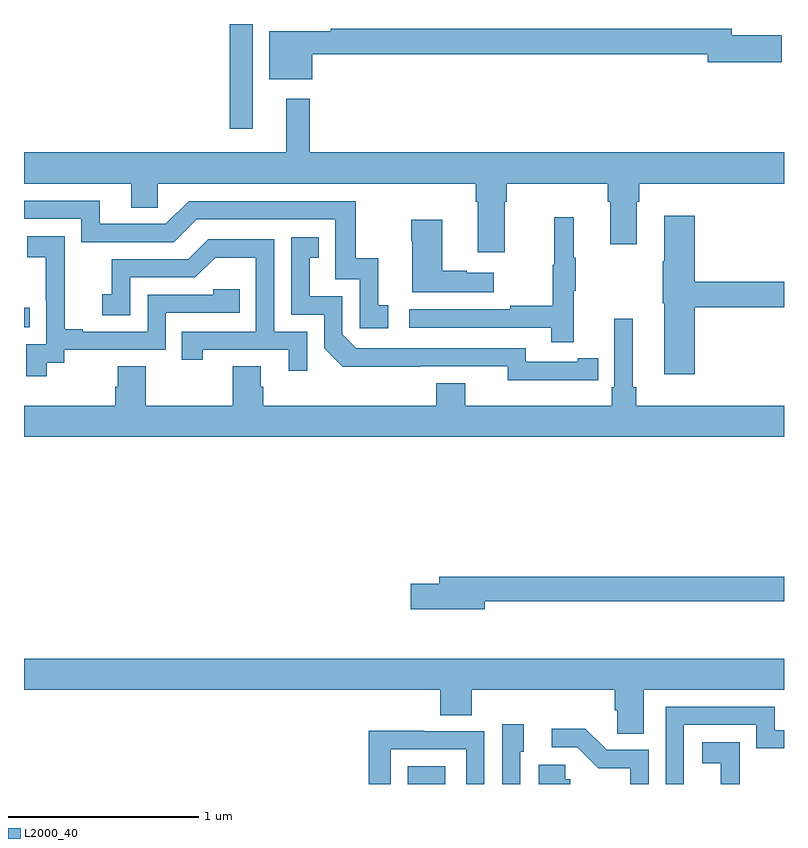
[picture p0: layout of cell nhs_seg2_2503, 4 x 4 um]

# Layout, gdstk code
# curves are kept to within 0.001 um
import gdstk
lib = gdstk.Library(unit=1e-6, precision=1e-09)
def R(c, l, rs):  # rectangles x0, y0, x1, y1
    for r in rs: c.add(gdstk.rectangle(r[:2], r[2:], *l))
def P(c, l, *ps):  # polygons
    for p in ps: c.add(gdstk.Polygon(p, *l))
L2000_40 = (2000, 40)

nhs_seg2_2503 = lib.new_cell('nhs_seg2_2503')
R(nhs_seg2_2503, L2000_40, [(243.02,653.8,243.217,653.893), (241,656.205,241.031,656.306), (242.082,657.249,242.203,657.8)])
P(nhs_seg2_2503, L2000_40, [(242.518,657.64),(244.598,657.64),(244.598,657.598),(244.987,657.598),(244.987,657.74),(244.726,657.74),(244.726,657.776),(242.614,657.776),(242.614,657.763),(242.291,657.763),(242.291,657.509),(242.518,657.509)],
  [(243.529,656.864),(243.542,656.864),(243.542,656.96),(244.073,656.96),(244.073,656.864),(244.085,656.864),(244.085,656.64),(244.225,656.64),(244.225,656.864),(244.238,656.864),(244.238,656.96),(245,656.96),(245,657.124),(242.503,657.124),(242.503,657.406),(242.381,657.406),(242.381,657.124),(241,657.124),(241,656.96),(241.565,656.96),(241.565,656.833),(241.704,656.833),(241.704,656.96),(243.377,656.96),(243.377,656.864),(243.389,656.864),(243.389,656.598),(243.529,656.598)],
  [(242.917,656.319),(242.864,656.319),(242.864,656.566),(242.746,656.566),(242.746,656.868),(241.866,656.868),(241.746,656.748),(241.399,656.748),(241.399,656.871),(241,656.871),(241,656.775),(241.302,656.775),(241.302,656.652),(241.788,656.652),(241.908,656.772),(242.637,656.772),(242.637,656.457),(242.766,656.457),(242.766,656.199),(242.917,656.199)],
  [(244.529,656.308),(245,656.308),(245,656.444),(244.529,656.444),(244.529,656.791),(244.37,656.791),(244.37,656.552),(244.363,656.552),(244.363,656.331),(244.37,656.331),(244.37,655.956),(244.529,655.956)],
  [(243.893,656.395),(243.904,656.395),(243.904,656.569),(243.893,656.569),(243.893,656.782),(243.79,656.782),(243.79,656.532),(243.783,656.532),(243.783,656.318),(243.559,656.318),(243.559,656.298),(243.027,656.298),(243.027,656.202),(243.775,656.202),(243.775,656.124),(243.893,656.124)],
  [(243.472,656.491),(243.329,656.491),(243.329,656.501),(243.202,656.501),(243.202,656.77),(243.037,656.77),(243.037,656.657),(243.044,656.657),(243.044,656.387),(243.472,656.387)],
  [(241.12,656.017),(241.212,656.017),(241.212,656.085),(241.746,656.085),(241.746,656.28),(242.135,656.28),(242.135,656.403),(241.995,656.403),(241.995,656.376),(241.65,656.376),(241.65,656.181),(241.309,656.181),(241.309,656.194),(241.214,656.194),(241.214,656.477),(241.215,656.477),(241.215,656.683),(241.017,656.683),(241.017,656.573),(241.115,656.573),(241.115,656.345),(241.116,656.345),(241.116,656.115),(241.011,656.115),(241.011,655.947),(241.12,655.947)],
  [(243.914,655.926),(244.022,655.926),(244.022,656.042),(243.914,656.042),(243.914,656.022),(243.642,656.022),(243.642,656.094),(242.748,656.094),(242.676,656.166),(242.676,656.367),(242.503,656.367),(242.503,656.571),(242.552,656.571),(242.552,656.677),(242.406,656.677),(242.406,656.271),(242.58,656.271),(242.58,656.094),(242.678,655.997),(243.546,655.998),(243.546,655.925)],
  [(242.49,656.181),(242.316,656.181),(242.316,656.667),(241.97,656.667),(241.865,656.562),(241.462,656.562),(241.462,656.377),(241.413,656.377),(241.413,656.268),(241.56,656.268),(241.56,656.466),(241.902,656.466),(242.006,656.57),(242.22,656.57),(242.22,656.181),(241.831,656.181),(241.831,656.034),(241.942,656.034),(241.942,656.085),(242.393,656.085),(242.393,655.974),(242.49,655.974)],
  [(245,655.792),(244.223,655.792),(244.223,655.888),(244.204,655.888),(244.204,656.248),(244.107,656.248),(244.107,655.888),(244.094,655.888),(244.094,655.792),(243.322,655.792),(243.322,655.909),(243.17,655.909),(243.17,655.792),(242.258,655.792),(242.258,655.89),(242.245,655.89),(242.245,656),(242.098,656),(242.098,655.792),(241.641,655.792),(241.641,656),(241.493,656),(241.493,655.89),(241.481,655.89),(241.481,655.792),(241,655.792),(241,655.628),(245,655.628)],
  [(243.424,654.762),(245,654.762),(245,654.89),(243.185,654.89),(243.185,654.854),(243.036,654.854),(243.036,654.719),(243.424,654.719)],
  [(244.261,654.296),(245,654.296),(245,654.46),(241,654.46),(241,654.296),(243.191,654.296),(243.191,654.163),(243.356,654.163),(243.356,654.296),(244.109,654.296),(244.109,654.187),(244.122,654.187),(244.122,654.064),(244.261,654.064)],
  [(244.473,654.111),(244.854,654.111),(244.854,653.988),(245,653.988),(245,654.084),(244.951,654.084),(244.951,654.207),(244.377,654.207),(244.377,653.8),(244.473,653.8)],
  [(243.612,653.97),(243.631,653.97),(243.631,654.115),(243.516,654.115),(243.516,653.8),(243.612,653.8)],
  [(244.287,653.979),(244.068,653.979),(243.955,654.092),(243.777,654.092),(243.777,653.994),(243.911,653.994),(244.022,653.883),(244.191,653.883),(244.191,653.8),(244.287,653.8)],
  [(242.931,653.982),(243.327,653.982),(243.327,653.8),(243.423,653.8),(243.423,654.078),(243.107,654.078),(243.107,654.08),(242.815,654.08),(242.815,653.8),(242.931,653.8)],
  [(244.766,653.813),(244.767,653.813),(244.767,654.019),(244.569,654.019),(244.569,653.909),(244.667,653.909),(244.667,653.8),(244.766,653.8)],
  [(243.876,653.826),(243.849,653.826),(243.849,653.902),(243.71,653.902),(243.71,653.8),(243.876,653.8)])

lib.write_gds('nhs_seg2_2503.gds')
